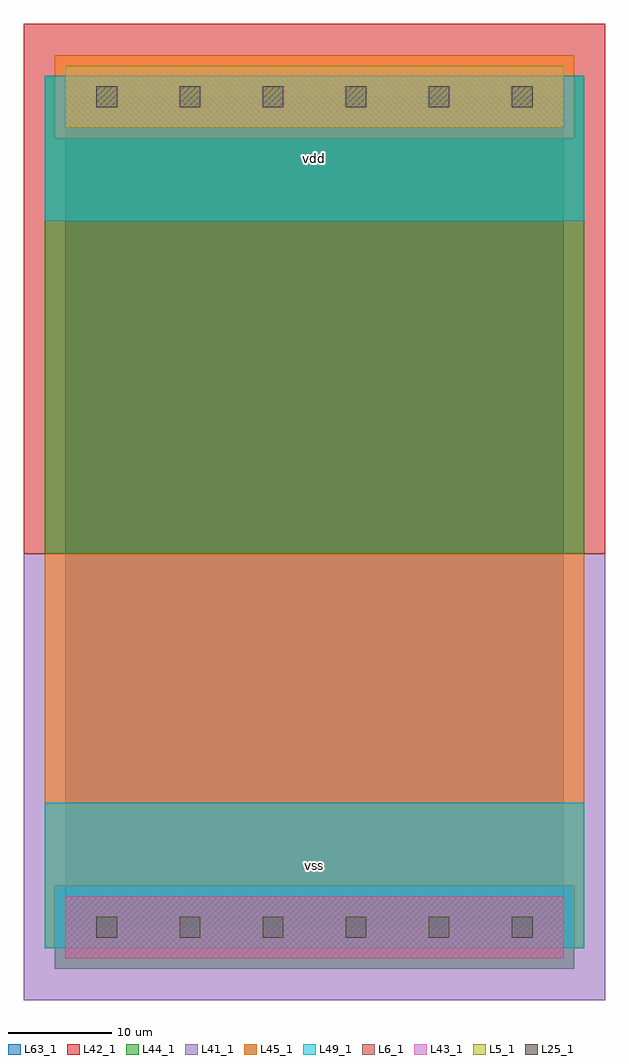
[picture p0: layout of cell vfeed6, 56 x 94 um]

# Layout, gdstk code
import gdstk
lib = gdstk.Library(unit=1e-6, precision=1e-09)
def R(c, l, rs):  # rectangles x0, y0, x1, y1
    for r in rs: c.add(gdstk.rectangle(r[:2], r[2:], *l))
def A(c, l, x, y, w, h, nx, ny, dx, dy):  # array of equal rectangles
    R(c, l, [(x+i*dx, y+j*dy, x+i*dx+w, y+j*dy+h) for i in range(nx) for j in range(ny)])
L5_1 = (5, 1)
L6_1 = (6, 1)
L25_1 = (25, 1)
L41_1 = (41, 1)
L42_1 = (42, 1)
L43_1 = (43, 1)
L44_1 = (44, 1)
L45_1 = (45, 1)
L49_1 = (49, 1)
L63_1 = (63, 1)

vfeed6 = lib.new_cell('vfeed6')
R(vfeed6, L5_1, [(0,77,48,83)])
R(vfeed6, L6_1, [(0,-3,48,3), (0,-3,48,3)])
A(vfeed6, L25_1, 3, -1, 2, 2, 6, 2, 8, 80)
R(vfeed6, L41_1, [(-4,-7,52,36)])
R(vfeed6, L42_1, [(-4,36,52,87)])
R(vfeed6, L43_1, [(0,-3,48,3), (0,77,48,83)])
R(vfeed6, L44_1, [(-1,-4,49,4), (-2,36,50,76), (-2,76,-1,82), (49,76,50,82)])
R(vfeed6, L45_1, [(-2,-2,-1,4), (49,-2,50,4), (-2,4,50,36), (-1,76,49,84)])
R(vfeed6, L49_1, [(-2,-2,50,12), (-2,68,50,82)])
R(vfeed6, L63_1, [(0,0,48,80)])
vfeed6.add(gdstk.Label('vss', (24,6), layer=49, texttype=1))
vfeed6.add(gdstk.Label('vdd', (24,74), layer=49, texttype=1))

lib.write_gds('vfeed6.gds')
